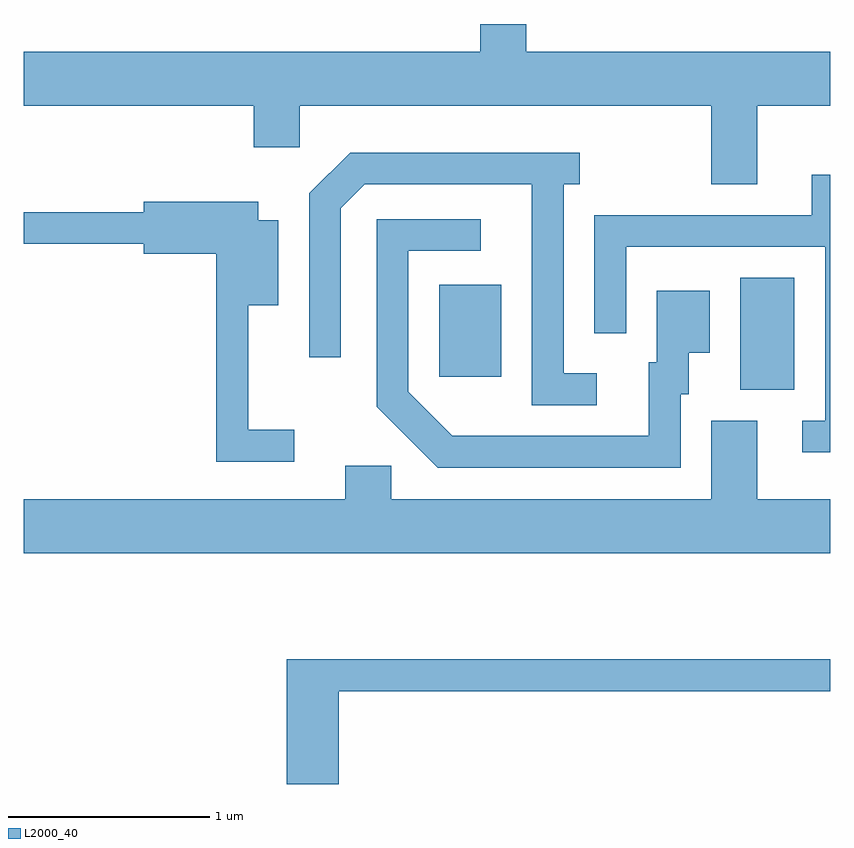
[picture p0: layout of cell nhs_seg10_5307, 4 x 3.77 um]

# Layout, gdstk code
import gdstk
lib = gdstk.Library(unit=1e-6, precision=1e-09)
def R(c, l, rs):  # rectangles x0, y0, x1, y1
    for r in rs: c.add(gdstk.rectangle(r[:2], r[2:], *l))
def P(c, l, *ps):  # polygons
    for p in ps: c.add(gdstk.Polygon(p, *l))
L2000_40 = (2000, 40)

nhs_seg10_5307 = lib.new_cell('nhs_seg10_5307')
R(nhs_seg10_5307, L2000_40, [(345.166,2134.706,345.434,2135.264), (343.671,2134.771,343.979,2135.229)])
P(nhs_seg10_5307, L2000_40, [(345.021,2135.726),(345.249,2135.726),(345.249,2136.116),(345.611,2136.116),(345.611,2136.384),(344.104,2136.384),(344.104,2136.522),(343.876,2136.522),(343.876,2136.384),(341.611,2136.384),(341.611,2136.116),(342.751,2136.116),(342.751,2135.911),(342.979,2135.911),(342.979,2136.116),(345.021,2136.116)],
  [(344.453,2134.789),(344.289,2134.789),(344.289,2135.726),(344.368,2135.726),(344.368,2135.884),(343.229,2135.884),(343.026,2135.682),(343.026,2134.868),(343.184,2134.868),(343.184,2135.609),(343.302,2135.726),(344.131,2135.726),(344.131,2134.631),(344.453,2134.631)],
  [(345.611,2135.774),(345.521,2135.774),(345.521,2135.574),(344.441,2135.574),(344.441,2134.988),(344.599,2134.988),(344.599,2135.416),(345.586,2135.416),(345.586,2134.554),(345.473,2134.554),(345.473,2134.396),(345.611,2134.396)],
  [(342.953,2134.509),(342.724,2134.509),(342.724,2135.126),(342.874,2135.126),(342.874,2135.549),(342.774,2135.549),(342.774,2135.639),(342.206,2135.639),(342.206,2135.589),(341.611,2135.589),(341.611,2135.431),(342.206,2135.431),(342.206,2135.381),(342.566,2135.381),(342.566,2134.351),(342.953,2134.351)],
  [(344.869,2134.686),(344.909,2134.686),(344.909,2134.891),(345.014,2134.891),(345.014,2135.199),(344.751,2135.199),(344.751,2134.844),(344.711,2134.844),(344.711,2134.479),(343.737,2134.479),(343.519,2134.697),(343.519,2135.396),(343.878,2135.396),(343.878,2135.554),(343.361,2135.554),(343.361,2134.624),(343.664,2134.321),(344.869,2134.321)],
  [(345.611,2134.164),(345.249,2134.164),(345.249,2134.554),(345.021,2134.554),(345.021,2134.164),(343.434,2134.164),(343.434,2134.329),(343.206,2134.329),(343.206,2134.164),(341.611,2134.164),(341.611,2133.896),(345.611,2133.896)],
  [(343.174,2133.211),(345.611,2133.211),(345.611,2133.369),(342.916,2133.369),(342.916,2132.751),(343.174,2132.751)])

lib.write_gds('nhs_seg10_5307.gds')
